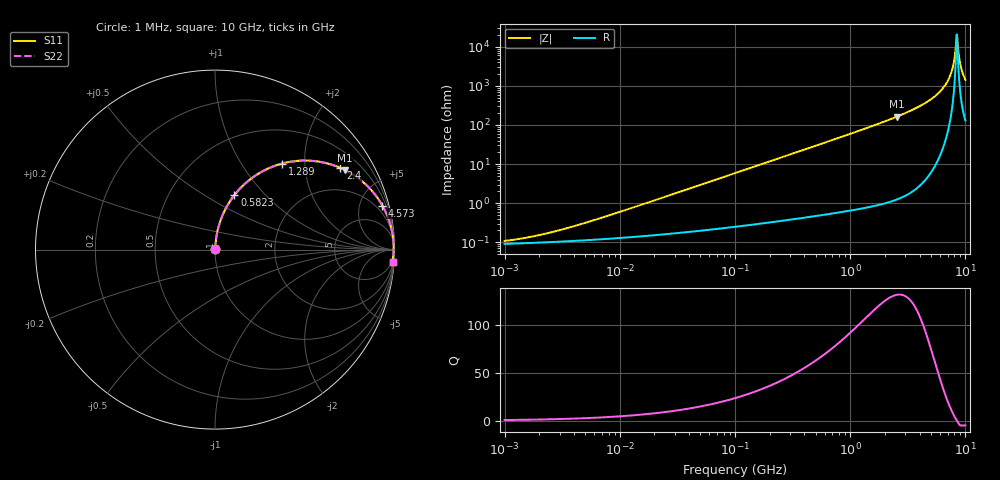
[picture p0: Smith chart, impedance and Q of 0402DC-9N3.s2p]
# MHz  S  MA  R  50
!Freq  MagS11  AngS11  MagS21  AngS21  MagS12  AngS12  MagS22  AngS22
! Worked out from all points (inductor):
!   801 points, 1 MHz to 10 GHz, reference 50 ohm
!   read as one part in series: L = 9.3 nH near 5.957 MHz
!   highest Q = 132 at 2.542 GHz (marker M1), where L = 10.2 nH
!   self-resonance near 8.418 GHz
!   S11 on the Smith chart (normalised r, x): 1 MHz: 1.00, +0.00; 582.3 MHz: 1.01, +0.68; 1.289 GHz: 1.01, +1.54; 2.4 GHz: 1.02, +3.05; 4.573 GHz: 1.08, +7.57; 10 GHz: 4, -29
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1  0.001076 32.8  0.9991 -0.0  0.9991 -0.0  0.001076 32.8
2.041806  0.001543 50.5  0.999 -0.1  0.999 -0.1  0.001543 50.5
4.67769  0.002946 67.8  0.9989 -0.2  0.9989 -0.2  0.002946 67.8
21.6303  0.01271 82.3  0.9984 -0.7  0.9984 -0.7  0.01271 82.3
100.0216  0.05826 84.2  0.9958 -3.3  0.9958 -3.3  0.05826 84.2
467.8699  0.2634 73.8  0.9603 -15.3  0.9603 -15.3  0.2634 73.8
582.2769  0.3221 70.4  0.942 -18.8  0.942 -18.8  0.3221 70.4
1288.682  0.6078 52.0  0.7883 -37.4  0.7883 -37.4  0.6078 52.0
2163.497  0.8013 36.3  0.5921 -53.2  0.5921 -53.2  0.8013 36.3
2399.708  0.8335 33.1  0.5463 -56.5  0.5463 -56.5  0.8335 33.1
2541.906  0.85 31.4  0.5203 -58.2  0.5203 -58.2  0.85 31.4
4572.687  0.9642 14.8  0.2548 -74.6  0.2548 -74.6  0.9642 14.8
5823.397  0.9854 8.7  0.1516 -80.1  0.1516 -80.1  0.9854 8.7
6921.177  0.9931 4.6  0.08036 -82.8  0.08036 -82.8  0.9931 4.6
7588.952  0.995 2.5  0.04301 -82.1  0.04301 -82.1  0.995 2.5
7855.657  0.9953 1.7  0.02915 -79.9  0.02915 -79.9  0.9953 1.7
8131.735  0.9954 0.9  0.01553 -72.4  0.01553 -72.4  0.9954 0.9
8417.515  0.9953 0.1  0.00481 -11.0  0.00481 -11.0  0.9953 0.1
8713.339  0.9949 -0.7  0.01393 68.3  0.01393 68.3  0.9949 -0.7
9019.56  0.9944 -1.5  0.02746 77.4  0.02746 77.4  0.9944 -1.5
9336.542  0.9936 -2.3  0.04127 79.9  0.04127 79.9  0.9936 -2.3
10000  0.9914 -3.9  0.06894 80.9  0.06894 80.9  0.9914 -3.9
